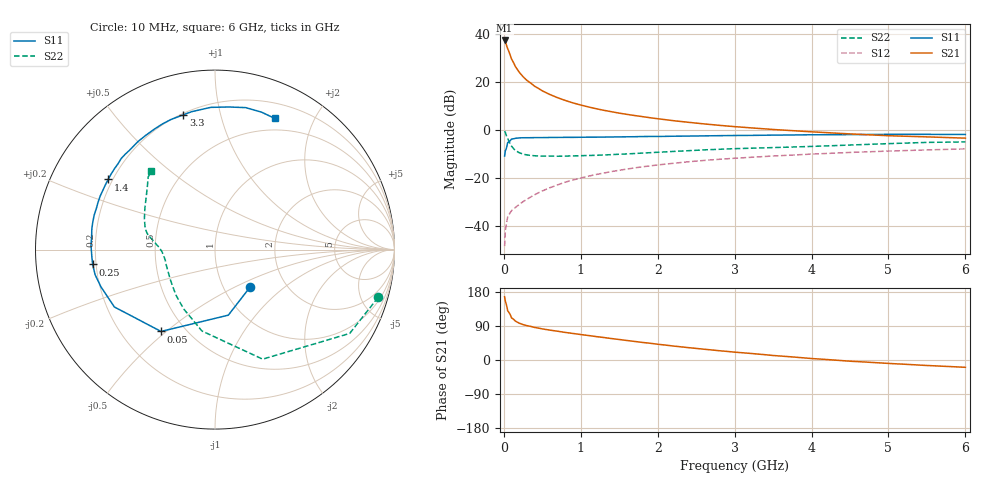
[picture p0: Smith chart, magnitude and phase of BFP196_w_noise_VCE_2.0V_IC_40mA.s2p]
! Infineon Technologies  Discrete & RF Semiconductors
! BFP196
! VCE =  2.0 V,  IC =  40 mA
! Common Emitter S-Parameters:  Jan 2017
# GHz  S  MA  R  50
!  f  S11  S21  S12  S22
! GHz  MAG  ANG  MAG  ANG  MAG  ANG  MAG  ANG
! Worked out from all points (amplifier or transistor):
!   77 points, 10 MHz to 6 GHz, reference 50 ohm
!   highest |S21| = 37.2 dB at 10 MHz (marker M1)
!   |S21| within 3 dB of that: start of sweep to 45.35 MHz
!   unconditionally stable (mu >= 1): 542.3 MHz to 2.572 GHz
!   at 130 MHz: K = 0.59, MSG = 30.3 dB, |S12| = -32.8 dB
!   at 2.2 GHz: K = 1.01, MAG = 8.2 dB, |S12| = -13.9 dB
!   at 6 GHz: K = 0.97, MSG = 2.2 dB, |S12| = -7.9 dB
!   lowest NFmin = 1.34 dB at 450 MHz
!   S11 on the Smith chart (normalised r, x): 10 MHz: 1.34, -0.60; 50 MHz: 0.37, -0.48; 250 MHz: 0.19, -0.06; 1.4 GHz: 0.18, +0.29; 3.3 GHz: 0.21, +0.77; 6 GHz: 0.36, +1.49
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0.01  0.2855 -46.3  72.79 166.8  0.0038 78.7  0.9473 -16.3
0.02  0.3727 -78.5  68.98 154.9  0.0081 73.8  0.8838 -31.9
0.05  0.5461 -123.4  49.12 129.8  0.0153 55.3  0.6657 -66.5
0.1  0.6454 -150.3  29.9 111.1  0.0208 50.3  0.4593 -99.1
0.15  0.6685 -161.9  20.83 102.6  0.0243 50.7  0.3742 -117.7
0.2  0.6825 -168.2  15.89 97.2  0.028 53.9  0.3352 -130.1
0.25  0.6866 -173.1  12.81 93.4  0.0321 56.3  0.3133 -138.6
0.3  0.6871 -176.4  10.73 90.6  0.0359 58.7  0.3012 -145.3
0.4  0.6911 178.3  8.116 85.9  0.0446 62.1  0.2896 -154.0
0.5  0.6914 173.8  6.503 82.1  0.0536 63.3  0.2854 -160.0
0.6  0.6961 170.3  5.444 78.8  0.0627 63.8  0.2849 -164.5
0.7  0.6979 167.3  4.671 75.9  0.0718 64.9  0.2831 -168.0
0.9  0.6996 160.9  3.642 70.0  0.0907 64.0  0.2878 -172.7
1.1  0.706 154.9  3.007 64.6  0.1089 62.3  0.2935 -176.5
1.4  0.7124 146.7  2.39 56.6  0.1359 59.2  0.3058 179.2
1.7  0.7214 138.6  1.992 49.0  0.1618 55.3  0.3226 175.8
2.1  0.7339 128.1  1.633 39.4  0.1939 49.6  0.3491 171.7
3.1  0.7665 106.9  1.138 19.1  0.2625 36.0  0.4111 161.6
3.3  0.7714 103.2  1.077 15.7  0.2741 33.5  0.4195 159.0
4.1  0.7929 90.2  0.895 2.6  0.3185 23.8  0.459 148.0
5.1  0.8084 76.5  0.748 -10.1  0.3667 12.2  0.524 135.8
6  0.8033 65.5  0.674 -19.3  0.4026 2.1  0.5619 129.1
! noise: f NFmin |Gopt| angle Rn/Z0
0.45  1.34  0.36  177  0.05
0.9  1.49  0.46  -167  0.07
1.9  2.31  0.68  -133  0.28
2.4  2.71  0.7  -120  0.62
